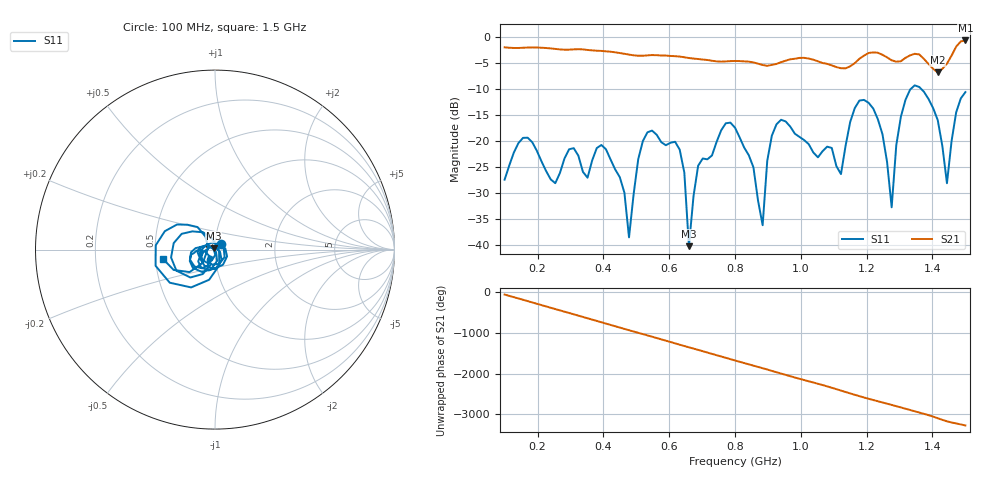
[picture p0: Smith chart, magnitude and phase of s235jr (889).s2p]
! NanoVNA-App
! Date: 2025-09-25 15:11:05
! Start: 100MHz Stop: 1,5GHz Points: 101
! S-Parameter data: F S11 S21 S12 S22
# Hz S RI R 50
!  Frequency  S11_Real  S11_Imag  S21_Real  S21_Imag  S12_Real  S12_Imag  S22_Real  S22_Imag
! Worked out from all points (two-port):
!   101 points, 100 MHz to 1.5 GHz, reference 50 ohm
!   highest |S21| = -0.63 dB at 1.5 GHz (marker M1); lowest = -6.8 dB at 1.416 GHz (marker M2)
!   |S21| within 3 dB of the highest: start of sweep to 608.1 MHz; 1.19 GHz to 1.255 GHz (64.53 MHz wide, 5.28 % of centre) (the widest 2 of 4)
!   lowest |S11| = -40.3 dB at 660 MHz (marker M3), VSWR 1.02, Z = 49.3 + j0.639 ohm
!   |S11| at or under -10 dB: start of sweep to 1.334 GHz; 1.366 GHz to end of sweep
!   S12 and S22 are empty: the file has one direction only
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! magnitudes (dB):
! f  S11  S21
! 100 MHz  -27.5  -2.0
! 156 MHz  -19.4  -2.0
! 338 MHz  -26.0  -2.4
! 408 MHz  -21.6  -2.7
! 478 MHz  -38.6  -3.4
! 520 MHz  -20.0  -3.6
! 576 MHz  -20.2  -3.5
! 632 MHz  -21.7  -3.7
! 660 MHz  -40.3  -4.0
! 688 MHz  -24.8  -4.2
! 800 MHz  -17.4  -4.6
! 884 MHz  -36.2  -5.4
! 926 MHz  -16.8  -5.2
! 1.038 GHz  -22.2  -4.3
! 1.122 GHz  -26.4  -6.0
! 1.206 GHz  -12.7  -3.0
! 1.276 GHz  -32.8  -4.5
! 1.29 GHz  -20.8  -4.7
! 1.332 GHz  -10.1  -3.5
! 1.416 GHz  -16.0  -6.8
! 1.444 GHz  -28.1  -5.1
! 1.5 GHz  -10.6  -0.6
